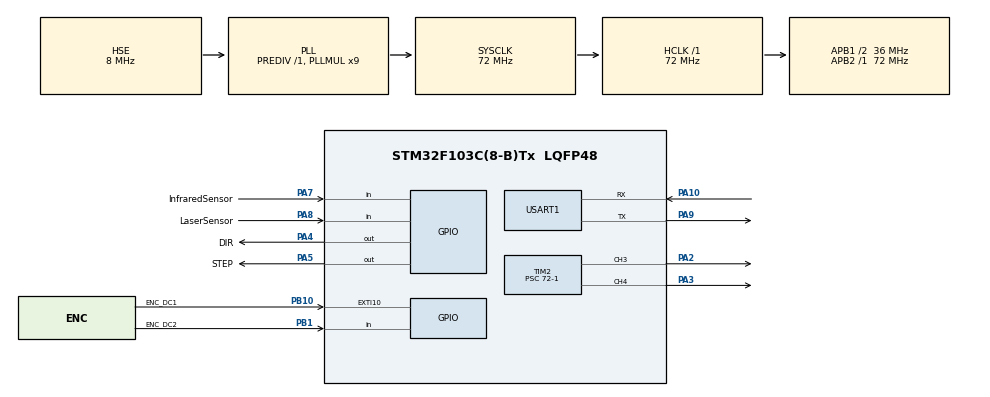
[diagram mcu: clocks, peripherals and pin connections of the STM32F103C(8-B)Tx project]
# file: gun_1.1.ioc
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FREERTOS.Tasks01=defaultTask,-2,64,StartDefaultTask,Default,NULL,Dynamic,NULL,NULL;myTask02,0,64,StartTask02,Default,NULL,Dynamic,NULL,NULL
FREERTOS.configMINIMAL_STACK_SIZE=64
FREERTOS.configUSE_NEWLIB_REENTRANT=1
Mcu.Family=STM32F1
Mcu.Name=STM32F103C(8-B)Tx
Mcu.Package=LQFP48
NVIC.EXTI15_10_IRQn=true\:5\:0\:false\:false\:true\:false\:true\:true\:true
NVIC.PriorityGroup=NVIC_PRIORITYGROUP_4
NVIC.TIM3_IRQn=true\:5\:0\:false\:false\:true\:true\:true\:true\:true
NVIC.TIM4_IRQn=true\:15\:0\:false\:false\:true\:false\:false\:true\:true
NVIC.TimeBase=TIM4_IRQn
NVIC.TimeBaseIP=TIM4
NVIC.USART1_IRQn=true\:5\:0\:false\:false\:true\:true\:true\:true\:true
PA10.Mode=Asynchronous
PA10.Signal=USART1_RX
PA13.Mode=Serial_Wire
PA13.Signal=SYS_JTMS-SWDIO
PA14.Mode=Serial_Wire
PA14.Signal=SYS_JTCK-SWCLK
PA2.Signal=S_TIM2_CH3
PA3.Signal=S_TIM2_CH4
PA4.GPIO_Label=DIR
PA4.Signal=GPIO_Output
PA5.GPIO_Label=STEP
PA5.Signal=GPIO_Output
PA7.GPIO_Label=InfraredSensor
PA7.GPIO_PuPd=GPIO_PULLUP
PA7.Signal=GPIO_Input
PA8.GPIO_Label=LaserSensor
PA8.GPIO_PuPd=GPIO_PULLUP
PA8.Signal=GPIO_Input
PA9.Mode=Asynchronous
PA9.Signal=USART1_TX
PB1.GPIO_Label=ENC_DC2
PB1.GPIO_PuPd=GPIO_PULLUP
PB1.Signal=GPIO_Input
PB10.GPIO_Label=ENC_DC1
PB10.GPIO_ModeDefaultEXTI=GPIO_MODE_IT_RISING
PB10.GPIO_PuPd=GPIO_PULLUP
PB10.Signal=GPXTI10
PD0-OSC_IN.Mode=HSE-External-Oscillator
PD0-OSC_IN.Signal=RCC_OSC_IN
PD1-OSC_OUT.Mode=HSE-External-Oscillator
PD1-OSC_OUT.Signal=RCC_OSC_OUT
ProjectManager.HeapSize=0x200
ProjectManager.StackSize=0x400
ProjectManager.TargetToolchain=STM32CubeIDE
RCC.AHBFreq_Value=72000000
RCC.APB1CLKDivider=RCC_HCLK_DIV2
RCC.APB1Freq_Value=36000000
RCC.APB1TimFreq_Value=72000000
RCC.APB2Freq_Value=72000000
RCC.APB2TimFreq_Value=72000000
RCC.HCLKFreq_Value=72000000
RCC.PLLMUL=RCC_PLL_MUL9
RCC.PLLSourceVirtual=RCC_PLLSOURCE_HSE
RCC.SYSCLKFreq_VALUE=72000000
RCC.SYSCLKSource=RCC_SYSCLKSOURCE_PLLCLK
RCC.USBFreq_Value=72000000
SH.S_TIM2_CH3.0=TIM2_CH3,PWM Generation3 CH3
SH.S_TIM2_CH4.0=TIM2_CH4,PWM Generation4 CH4
TIM1.Prescaler=72-1
TIM2.Channel-PWM\ Generation3\ CH3=TIM_CHANNEL_3
TIM2.Channel-PWM\ Generation4\ CH4=TIM_CHANNEL_4
TIM2.Period=100-1
TIM2.Prescaler=72-1
TIM3.Period=1000-1
TIM3.Prescaler=72-1
USART1.Parity=PARITY_ODD
USART1.VirtualMode=VM_ASYNC
USART1.WordLength=WORDLENGTH_9B
VP_FREERTOS_VS_CMSIS_V1.Mode=CMSIS_V1
VP_SYS_VS_tim4.Mode=TIM4
VP_TIM1_VS_ClockSourceINT.Mode=Internal
VP_TIM2_VS_ClockSourceINT.Mode=Internal
VP_TIM3_VS_ClockSourceINT.Mode=Internal
board=custom

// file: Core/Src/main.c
/* USER CODE BEGIN Header */
/**
  ******************************************************************************
  * @file           : main.c
  * @brief          : Main program body
  ******************************************************************************
  * @attention
  *
  * Copyright (c) 2023 STMicroelectronics.
  * All rights reserved.
  *
  * This software is licensed under terms that can be found in the LICENSE file
  * in the root directory of this software component.
  * If no LICENSE file comes with this software, it is provided AS-IS.
  *
  ******************************************************************************
  */
/* USER CODE END Header */
#include "main.h"
#include "cmsis_os.h"

/* USER CODE BEGIN Includes */
#include "stdlib.h"
#include "gunPID.h"
/* USER CODE END Includes */

/* USER CODE BEGIN PD */
#define DC_FORWARD 1
#define DC_BACKWARD 1
/* USER CODE END PD */

TIM_HandleTypeDef htim1;
TIM_HandleTypeDef htim2;
TIM_HandleTypeDef htim3;

UART_HandleTypeDef huart1;

osThreadId defaultTaskHandle;
osThreadId myTask02Handle;
/* USER CODE BEGIN PV */
volatile int  count1;
long precount1, precount;
double pos;
double v1;
double v1Filt;
double v1Prev;
int vt = 0;
double e1 ;
double ei1;
double u1;
double kp1 = 0.49;
double ki1 = 20;
double ui_p1, ui1, up1, pre1;
int dir;
int pwm;
uint8_t pole;
uint8_t home = 2;
uint16_t manual_rpm, manual_delay;
uint16_t rpm_shoot[] = {1300, 1295, 1400, 1000, 1100, 1200};
uint16_t delay_shoot[] = {305, 305, 305, 305, 305, 305};
PID_Param pidParam;
/* USER CODE END PV */

void SystemClock_Config(void);
static void MX_GPIO_Init(void);
static void MX_TIM2_Init(void);
static void MX_TIM3_Init(void);
static void MX_TIM1_Init(void);
static void MX_USART1_UART_Init(void);
void StartDefaultTask(void const * argument);
void StartTask02(void const * argument);

/* USER CODE BEGIN 0 */
void HAL_GPIO_EXTI_Callback(uint16_t GPIO_Pin)
{
	//Encoder DC-SPEED
	if (GPIO_Pin == ENC_DC1_Pin){
		if (!HAL_GPIO_ReadPin(ENC_DC2_GPIO_Port,ENC_DC2_Pin)) count1++;
		else count1--;
	}
}
void driveSpeed(int dir , int pwmVal){
	if (dir == DC_FORWARD){
		__HAL_TIM_SET_COMPARE(&htim2, TIM_CHANNEL_3, pwmVal);
		__HAL_TIM_SET_COMPARE(&htim2, TIM_CHANNEL_4, 0);
	}
	else if (dir == DC_BACKWARD){
		__HAL_TIM_SET_COMPARE(&htim2, TIM_CHANNEL_3, 0);
		__HAL_TIM_SET_COMPARE(&htim2, TIM_CHANNEL_4, pwmVal);
	}
	else{
		__HAL_TIM_SET_COMPARE(&htim2, TIM_CHANNEL_3, 0);
		__HAL_TIM_SET_COMPARE(&htim2, TIM_CHANNEL_4, 0);
	}
}

void setHome (void){
	vt = -100;
	while (1)
	{
		if (HAL_GPIO_ReadPin(InfraredSensor_GPIO_Port, InfraredSensor_Pin) &&
			HAL_GPIO_ReadPin(LaserSensor_GPIO_Port, LaserSensor_Pin)){
			vt = 0;
			home = 0;
			return;
		}
	}
}

void shootPole(void){
	osDelay(1000);
	vt = rpm_shoot[pole - 1];
	osDelay(delay_shoot[pole - 1]);
}

void shootManual(void){
	osDelay(1000);
	vt = manual_rpm;
	osDelay(manual_delay);
	vt = 0;
	manual_rpm = 0;
}

/* USER CODE END 0 */

int main(void)
{

  /* MCU Configuration--------------------------------------------------------*/

  /* Reset of all peripherals, Initializes the Flash interface and the Systick. */
  HAL_Init();

  /* Configure the system clock */
  SystemClock_Config();

  /* Initialize all configured peripherals */
  MX_GPIO_Init();
  MX_TIM2_Init();
  MX_TIM3_Init();
  MX_TIM1_Init();
  MX_USART1_UART_Init();
  /* USER CODE BEGIN 2 */
  HAL_TIM_Base_Start(&htim1);
  HAL_TIM_PWM_Start(&htim2,TIM_CHANNEL_3);
  HAL_TIM_PWM_Start(&htim2,TIM_CHANNEL_4);
  HAL_TIM_Base_Start_IT(&htim3);

  /* USER CODE END 2 */

  /* Create the thread(s) */
  /* definition and creation of defaultTask */
  osThreadDef(defaultTask, StartDefaultTask, osPriorityLow, 0, 64);
  defaultTaskHandle = osThreadCreate(osThread(defaultTask), NULL);

  /* definition and creation of myTask02 */
  osThreadDef(myTask02, StartTask02, osPriorityNormal, 0, 64);
  myTask02Handle = osThreadCreate(osThread(myTask02), NULL);

  /* Start scheduler */
  osKernelStart();

  /* We should never get here as control is now taken by the scheduler */
  /* Infinite loop */
  while (1)
  {

  }
}

void SystemClock_Config(void)
{
  RCC_OscInitTypeDef RCC_OscInitStruct = {0};
  RCC_ClkInitTypeDef RCC_ClkInitStruct = {0};

  /** Initializes the RCC Oscillators according to the specified parameters
  * in the RCC_OscInitTypeDef structure.
  */
  RCC_OscInitStruct.OscillatorType = RCC_OSCILLATORTYPE_HSE;
  RCC_OscInitStruct.HSEState = RCC_HSE_ON;
  RCC_OscInitStruct.HSEPredivValue = RCC_HSE_PREDIV_DIV1;
  RCC_OscInitStruct.HSIState = RCC_HSI_ON;
  RCC_OscInitStruct.PLL.PLLState = RCC_PLL_ON;
  RCC_OscInitStruct.PLL.PLLSource = RCC_PLLSOURCE_HSE;
  RCC_OscInitStruct.PLL.PLLMUL = RCC_PLL_MUL9;
  if (HAL_RCC_OscConfig(&RCC_OscInitStruct) != HAL_OK)
  {
    Error_Handler();
  }

  /** Initializes the CPU, AHB and APB buses clocks
  */
  RCC_ClkInitStruct.ClockType = RCC_CLOCKTYPE_HCLK|RCC_CLOCKTYPE_SYSCLK
                              |RCC_CLOCKTYPE_PCLK1|RCC_CLOCKTYPE_PCLK2;
  RCC_ClkInitStruct.SYSCLKSource = RCC_SYSCLKSOURCE_PLLCLK;
  RCC_ClkInitStruct.AHBCLKDivider = RCC_SYSCLK_DIV1;
  RCC_ClkInitStruct.APB1CLKDivider = RCC_HCLK_DIV2;
  RCC_ClkInitStruct.APB2CLKDivider = RCC_HCLK_DIV1;

  if (HAL_RCC_ClockConfig(&RCC_ClkInitStruct, FLASH_LATENCY_2) != HAL_OK)
  {
    Error_Handler();
  }
}

static void MX_TIM1_Init(void)
{

  TIM_ClockConfigTypeDef sClockSourceConfig = {0};
  TIM_MasterConfigTypeDef sMasterConfig = {0};

  htim1.Instance = TIM1;
  htim1.Init.Prescaler = 72-1;
  htim1.Init.CounterMode = TIM_COUNTERMODE_UP;
  htim1.Init.Period = 65535;
  htim1.Init.ClockDivision = TIM_CLOCKDIVISION_DIV1;
  htim1.Init.RepetitionCounter = 0;
  htim1.Init.AutoReloadPreload = TIM_AUTORELOAD_PRELOAD_DISABLE;
  if (HAL_TIM_Base_Init(&htim1) != HAL_OK)
  {
    Error_Handler();
  }
  sClockSourceConfig.ClockSource = TIM_CLOCKSOURCE_INTERNAL;
  if (HAL_TIM_ConfigClockSource(&htim1, &sClockSourceConfig) != HAL_OK)
  {
    Error_Handler();
  }
  sMasterConfig.MasterOutputTrigger = TIM_TRGO_RESET;
  sMasterConfig.MasterSlaveMode = TIM_MASTERSLAVEMODE_DISABLE;
  if (HAL_TIMEx_MasterConfigSynchronization(&htim1, &sMasterConfig) != HAL_OK)
  {
    Error_Handler();
  }

}

static void MX_TIM2_Init(void)
{

  TIM_ClockConfigTypeDef sClockSourceConfig = {0};
  TIM_MasterConfigTypeDef sMasterConfig = {0};
  TIM_OC_InitTypeDef sConfigOC = {0};

  htim2.Instance = TIM2;
  htim2.Init.Prescaler = 72-1;
  htim2.Init.CounterMode = TIM_COUNTERMODE_UP;
  htim2.Init.Period = 100-1;
  htim2.Init.ClockDivision = TIM_CLOCKDIVISION_DIV1;
  htim2.Init.AutoReloadPreload = TIM_AUTORELOAD_PRELOAD_DISABLE;
  if (HAL_TIM_Base_Init(&htim2) != HAL_OK)
  {
    Error_Handler();
  }
  sClockSourceConfig.ClockSource = TIM_CLOCKSOURCE_INTERNAL;
  if (HAL_TIM_ConfigClockSource(&htim2, &sClockSourceConfig) != HAL_OK)
  {
    Error_Handler();
  }
  if (HAL_TIM_PWM_Init(&htim2) != HAL_OK)
  {
    Error_Handler();
  }
  sMasterConfig.MasterOutputTrigger = TIM_TRGO_RESET;
  sMasterConfig.MasterSlaveMode = TIM_MASTERSLAVEMODE_DISABLE;
  if (HAL_TIMEx_MasterConfigSynchronization(&htim2, &sMasterConfig) != HAL_OK)
  {
    Error_Handler();
  }
  sConfigOC.OCMode = TIM_OCMODE_PWM1;
  sConfigOC.Pulse = 0;
  sConfigOC.OCPolarity = TIM_OCPOLARITY_HIGH;
  sConfigOC.OCFastMode = TIM_OCFAST_DISABLE;
  if (HAL_TIM_PWM_ConfigChannel(&htim2, &sConfigOC, TIM_CHANNEL_3) != HAL_OK)
  {
    Error_Handler();
  }
  if (HAL_TIM_PWM_ConfigChannel(&htim2, &sConfigOC, TIM_CHANNEL_4) != HAL_OK)
  {
    Error_Handler();
  }
  HAL_TIM_MspPostInit(&htim2);

}

static void MX_TIM3_Init(void)
{

  TIM_ClockConfigTypeDef sClockSourceConfig = {0};
  TIM_MasterConfigTypeDef sMasterConfig = {0};

  htim3.Instance = TIM3;
  htim3.Init.Prescaler = 72-1;
  htim3.Init.CounterMode = TIM_COUNTERMODE_UP;
  htim3.Init.Period = 1000-1;
  htim3.Init.ClockDivision = TIM_CLOCKDIVISION_DIV1;
  htim3.Init.AutoReloadPreload = TIM_AUTORELOAD_PRELOAD_DISABLE;
  if (HAL_TIM_Base_Init(&htim3) != HAL_OK)
  {
    Error_Handler();
  }
  sClockSourceConfig.ClockSource = TIM_CLOCKSOURCE_INTERNAL;
  if (HAL_TIM_ConfigClockSource(&htim3, &sClockSourceConfig) != HAL_OK)
  {
    Error_Handler();
  }
  sMasterConfig.MasterOutputTrigger = TIM_TRGO_RESET;
  sMasterConfig.MasterSlaveMode = TIM_MASTERSLAVEMODE_DISABLE;
  if (HAL_TIMEx_MasterConfigSynchronization(&htim3, &sMasterConfig) != HAL_OK)
  {
    Error_Handler();
  }

}

static void MX_USART1_UART_Init(void)
{

  huart1.Instance = USART1;
  huart1.Init.BaudRate = 115200;
  huart1.Init.WordLength = UART_WORDLENGTH_9B;
  huart1.Init.StopBits = UART_STOPBITS_1;
  huart1.Init.Parity = UART_PARITY_ODD;
  huart1.Init.Mode = UART_MODE_TX_RX;
  huart1.Init.HwFlowCtl = UART_HWCONTROL_NONE;
  huart1.Init.OverSampling = UART_OVERSAMPLING_16;
  if (HAL_UART_Init(&huart1) != HAL_OK)
  {
    Error_Handler();
  }

}

static void MX_GPIO_Init(void)
{
  GPIO_InitTypeDef GPIO_InitStruct = {0};

  /* GPIO Ports Clock Enable */
  __HAL_RCC_GPIOD_CLK_ENABLE();
  __HAL_RCC_GPIOA_CLK_ENABLE();
  __HAL_RCC_GPIOB_CLK_ENABLE();

  /*Configure GPIO pin Output Level */
  HAL_GPIO_WritePin(GPIOA, DIR_Pin|STEP_Pin, GPIO_PIN_RESET);

  /*Configure GPIO pins : DIR_Pin STEP_Pin */
  GPIO_InitStruct.Pin = DIR_Pin|STEP_Pin;
  GPIO_InitStruct.Mode = GPIO_MODE_OUTPUT_PP;
  GPIO_InitStruct.Pull = GPIO_NOPULL;
  GPIO_InitStruct.Speed = GPIO_SPEED_FREQ_LOW;
  HAL_GPIO_Init(GPIOA, &GPIO_InitStruct);

  /*Configure GPIO pins : InfraredSensor_Pin LaserSensor_Pin */
  GPIO_InitStruct.Pin = InfraredSensor_Pin|LaserSensor_Pin;
  GPIO_InitStruct.Mode = GPIO_MODE_INPUT;
  GPIO_InitStruct.Pull = GPIO_PULLUP;
  HAL_GPIO_Init(GPIOA, &GPIO_InitStruct);

  /*Configure GPIO pin : ENC_DC2_Pin */
  GPIO_InitStruct.Pin = ENC_DC2_Pin;
  GPIO_InitStruct.Mode = GPIO_MODE_INPUT;
  GPIO_InitStruct.Pull = GPIO_PULLUP;
  HAL_GPIO_Init(ENC_DC2_GPIO_Port, &GPIO_InitStruct);

  /*Configure GPIO pin : ENC_DC1_Pin */
  GPIO_InitStruct.Pin = ENC_DC1_Pin;
  GPIO_InitStruct.Mode = GPIO_MODE_IT_RISING;
  GPIO_InitStruct.Pull = GPIO_PULLUP;
  HAL_GPIO_Init(ENC_DC1_GPIO_Port, &GPIO_InitStruct);

  /* EXTI interrupt init*/
  HAL_NVIC_SetPriority(EXTI15_10_IRQn, 5, 0);
  HAL_NVIC_EnableIRQ(EXTI15_10_IRQn);

}

void StartDefaultTask(void const * argument)
{
  /* USER CODE BEGIN 5 */
  /* Infinite loop */
  for(;;)
  {
	  driveSpeed(-dir, pwm);
	  osDelay(1);
  }
  /* USER CODE END 5 */
}

void StartTask02(void const * argument)
{
  /* USER CODE BEGIN StartTask02 */
  /* Infinite loop */
  for(;;)
  {
	  //home = 0 : in position to shoot
	  if (home == 0 && pole > 0){
		  shootPole();
		  resetVariables();
	  }

	  else if (manual_rpm > 0) shootManual();

	  else if (home == 1) setHome();

	  osDelay(1);

  }
  /* USER CODE END StartTask02 */
}

void HAL_TIM_PeriodElapsedCallback(TIM_HandleTypeDef *htim)
{
  if (htim->Instance == TIM4) {
    HAL_IncTick();
  }
  /* USER CODE BEGIN Callback 1 */
  if (htim->Instance == TIM3) {
	pos = count1 - precount;
	v1 = ((pos / 0.001) / (200)) * 60;
	v1Filt = 0.854 * v1Filt + 0.0728 * v1 + 0.0728 * v1Prev;
	v1Prev = v1;
	precount = count1;
	pidParam.currVal = v1;
  }

  calculatePIDSpeed();

  /* USER CODE END Callback 1 */
}

void Error_Handler(void)
{
  __disable_irq();
  while (1)
  {
  }
}
